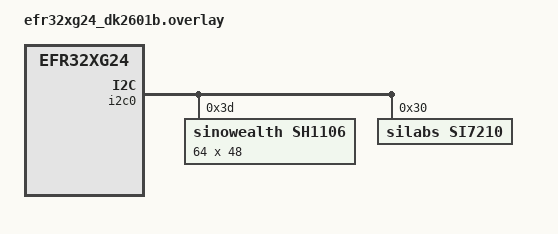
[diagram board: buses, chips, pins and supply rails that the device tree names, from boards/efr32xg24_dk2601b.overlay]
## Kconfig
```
# Copyright (c) 2022, Silicon Labs
# SPDX-License-Identifier: Apache-2.0

mainmenu "Si7210: Magnetic Threshold Configuration"

config SI7210_MAGNETIC_THRESHOLD
	int "Si7210 Magnetic threshold"
	default 20
	help
		This configuration can be used for configure magnetic threshold.

source "Kconfig.zephyr"
```

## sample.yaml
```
sample:
  description: This example demonstrates the utilization of the Qwiic connector with the Silabs EFR32BG22 Thunderboard Kit on Zephyr OS.
  name: zephyr_qwiic_connector

tests:
  sample.basic.zephyr_qwiic_connector:
    tags: experimental
```

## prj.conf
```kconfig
# nothing here
CONFIG_HEAP_MEM_POOL_SIZE=4096

CONFIG_CHARACTER_FRAMEBUFFER=y
CONFIG_CHARACTER_FRAMEBUFFER_USE_DEFAULT_FONTS=n

CONFIG_SENSOR=y
CONFIG_I2C=y
CONFIG_DISPLAY=y
CONFIG_SSD1306=y
CONFIG_SSD1306_DEFAULT_CONTRAST=143
CONFIG_STDOUT_CONSOLE=y
CONFIG_LOG_BUFFER_SIZE=4096
CONFIG_LOG=y
CONFIG_SERIAL=y
CONFIG_CBPRINTF_FP_SUPPORT=y
```

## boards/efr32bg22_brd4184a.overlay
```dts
&i2c0 {
	sh1106:sh1106@3d {
		status = "okay";
		compatible = "sinowealth,sh1106";
		reg = <0x3d>;
		width = <64>;
		height = <48>;
		segment-offset = <0x20>;
		page-offset = <0>;
		display-offset = <0>;
		multiplex-ratio = <47>;
		segment-remap;
		com-invdir;
		prechargep = <0xf1>;
	};
};
```

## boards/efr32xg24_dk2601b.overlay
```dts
&i2c0 {
	sh1106:sh1106@3d {
		status = "okay";
		compatible = "sinowealth,sh1106";
		reg = <0x3d>;
		width = <64>;
		height = <48>;
		segment-offset = <0x20>;
		page-offset = <0>;
		display-offset = <0>;
		multiplex-ratio = <47>;
		segment-remap;
		com-invdir;
		prechargep = <0xf1>;
	};

	si7210@30 {
		compatible = "silabs,si7210";
		status = "okay";
		reg = <0x30>;
	};
};

&sensor_enable {
	startup-delay-us = <100000>;
};
```

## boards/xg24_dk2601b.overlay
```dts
&i2c0 {
	ssd1306:ssd1306@3d {
		status = "okay";
		compatible = "solomon,ssd1306fb";
		reg = <0x3d>;
		width = <64>;
		height = <48>;
		segment-offset = <0x20>;
		page-offset = <0>;
		display-offset = <0>;
		multiplex-ratio = <47>;
		segment-remap;
		inversion-on;
		com-invdir;
		prechargep = <0xf1>;
	};

	si7210@30 {
		compatible = "silabs,si7210";
		status = "okay";
		reg = <0x30>;
	};
};

&sensor_enable {
	startup-delay-us = <100000>;
};
```

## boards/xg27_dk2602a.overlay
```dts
&i2c0 {
	ssd1306:ssd1306@3d {
		status = "okay";
		compatible = "solomon,ssd1306fb";
		reg = <0x3d>;
		width = <64>;
		height = <48>;
		segment-offset = <0x20>;
		page-offset = <0>;
		display-offset = <0>;
		multiplex-ratio = <47>;
		segment-remap;
		inversion-on;
		com-invdir;
		prechargep = <0xf1>;
	};
};
```

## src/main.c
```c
/***************************************************************************//**
 * @file main.c
 * @brief zephyr qwiic connector source file.
 *******************************************************************************
 * # License
 * <b>Copyright 2025 Silicon Laboratories Inc. www.silabs.com</b>
 *******************************************************************************
 *
 * SPDX-License-Identifier: Zlib
 *
 * The licensor of this software is Silicon Laboratories Inc.
 *
 * This software is provided \'as-is\', without any express or implied
 * warranty. In no event will the authors be held liable for any damages
 * arising from the use of this software.
 *
 * Permission is granted to anyone to use this software for any purpose,
 * including commercial applications, and to alter it and redistribute it
 * freely, subject to the following restrictions:
 *
 * 1. The origin of this software must not be misrepresented; you must not
 *    claim that you wrote the original software. If you use this software
 *    in a product, an acknowledgment in the product documentation would be
 *    appreciated but is not required.
 * 2. Altered source versions must be plainly marked as such, and must not be
 *    misrepresented as being the original software.
 * 3. This notice may not be removed or altered from any source distribution.
 *
 *******************************************************************************
 * # EXPERIMENTAL QUALITY
 * This code has not been formally tested and is provided as-is. It is not
 * suitable for production environments. In addition, this code will not be
 * maintained and there may be no bug maintenance planned for these resources.
 * Silicon Labs may update projects from time to time.
 ******************************************************************************/

#include <zephyr/kernel.h>
#include "app.h"

#define STACKSIZE 1024
#define PRIORITY  7

/***************************************************************************//**
 * Main thread function.
 ******************************************************************************/
void main_thread(void *id, void *unused1, void *unused2)
{
  app_init();

  while (1) {
    app_process_action();
  }
}

K_THREAD_DEFINE(main_id, STACKSIZE, main_thread,
                NULL, NULL, NULL, PRIORITY, 0, 0);
```

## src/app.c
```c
/***************************************************************************//**
 * @file app.c
 * @brief zephyr qwiic connector source file.
 *******************************************************************************
 * # License
 * <b>Copyright 2025 Silicon Laboratories Inc. www.silabs.com</b>
 *******************************************************************************
 *
 * SPDX-License-Identifier: Zlib
 *
 * The licensor of this software is Silicon Laboratories Inc.
 *
 * This software is provided \'as-is\', without any express or implied
 * warranty. In no event will the authors be held liable for any damages
 * arising from the use of this software.
 *
 * Permission is granted to anyone to use this software for any purpose,
 * including commercial applications, and to alter it and redistribute it
 * freely, subject to the following restrictions:
 *
 * 1. The origin of this software must not be misrepresented; you must not
 *    claim that you wrote the original software. If you use this software
 *    in a product, an acknowledgment in the product documentation would be
 *    appreciated but is not required.
 * 2. Altered source versions must be plainly marked as such, and must not be
 *    misrepresented as being the original software.
 * 3. This notice may not be removed or altered from any source distribution.
 *
 *******************************************************************************
 * # EXPERIMENTAL QUALITY
 * This code has not been formally tested and is provided as-is. It is not
 * suitable for production environments. In addition, this code will not be
 * maintained and there may be no bug maintenance planned for these resources.
 * Silicon Labs may update projects from time to time.
 ******************************************************************************/

#include <stdio.h>
#include <zephyr/device.h>
#include <zephyr/display/cfb.h>
#include <zephyr/drivers/sensor.h>
#include <zephyr/logging/log.h>
#include "app.h"

#define DISPLAY_DRIVER       "solomon_ssd1306fb"
#define SELECTED_FONT_INDEX  3

LOG_MODULE_REGISTER(app, 3);

static const struct device *display;
static const struct device *sensor;
static struct cfb_position line_up_start_pos = {
  .x = 0,
  .y = 10,
};
static struct cfb_position line_up_end_pos = {
  .x = 64,
  .y = 10,
};

static struct cfb_position line_down_start_pos = {
  .x = 0,
  .y = 36,
};
static struct cfb_position line_down_end_pos = {
  .x = 64,
  .y = 36,
};

static void app_sensor_init(void);
static void app_oled_init(void);
static void app_oled_update(float magnetic_value);

/***************************************************************************//**
 * OLED update application.
 ******************************************************************************/
static void app_oled_update(float magnetic_value)
{
  static char temp[13];
  uint8_t x, num_char;

  cfb_framebuffer_clear(display, false);
  cfb_print(display, "QWIIC DEMO", 8, 0);

  cfb_draw_line(display, &line_up_start_pos, &line_up_end_pos);

  cfb_print(display, "Magnetic", 12, 14);
  num_char = snprintf(temp, sizeof(temp), "%.2f mT", (double)magnetic_value);
  x = (64 - num_char * 5) / 2;
  cfb_print(display, temp, x, 26);

  cfb_draw_line(display, &line_down_start_pos, &line_down_end_pos);

  if (abs(magnetic_value) > CONFIG_SI7210_MAGNETIC_THRESHOLD) {
    LOG_INF("Detected a magnetic object nearby.");
    cfb_print(display, "< DETECTED >", 2, 40);
  } else {
    cfb_print(display, "< NO >", 16, 40);
  }

  cfb_framebuffer_finalize(display);
}

/***************************************************************************//**
 * OLED initialization function.
 ******************************************************************************/
static void app_oled_init(void)
{
  display = DEVICE_DT_GET_ONE(solomon_ssd1306fb);

  if (NULL == display) {
    LOG_ERR("SparkFun Micro OLED Breakout is not found.");
    return;
  }
  if (!device_is_ready(display)) {
    LOG_ERR("SparkFun Micro OLED Breakout is not ready!");
  }
  if (display_set_pixel_format(display, PIXEL_FORMAT_MONO01) != 0) {
    LOG_ERR("Failed to set required pixel format");
    return;
  }
  LOG_INF("Binding to %s", DISPLAY_DRIVER);
  if (cfb_framebuffer_init(display)) {
    LOG_ERR("Framebuffer initialization failed!");
    return;
  }

  cfb_framebuffer_clear(display, true);
  display_blanking_off(display);

  cfb_framebuffer_set_font(display, SELECTED_FONT_INDEX);

  LOG_INF("SparkFun Micro OLED Breakout initialized successfully.");
}

/***************************************************************************//**
 * Sensor initialization function.
 ******************************************************************************/
static void app_sensor_init(void)
{
  sensor = DEVICE_DT_GET_ANY(silabs_si7210);

  if (NULL == sensor) {
    LOG_ERR("Si7210 Hall Effect Magnetic Sensor is not found.");
    return;
  }

  if (!device_is_ready(sensor)) {
    LOG_ERR("Si7210 Hall Effect Magnetic Sensor is not ready!");
  }

  LOG_INF("Si7210 Hall Effect Magnetic Sensor initialized successfully.");
  LOG_INF("Magnetic induction threshold: %d mT",
          CONFIG_SI7210_MAGNETIC_THRESHOLD);
}

/***************************************************************************//**
 * Initialize application.
 ******************************************************************************/
void app_init(void)
{
  app_oled_init();
  app_sensor_init();
}

/***************************************************************************//**
 * Application ticking function.
 ******************************************************************************/
void app_process_action(void)
{
  struct sensor_value magnetic;
  float f_magnetic;

  while (1) {
    sensor_sample_fetch(sensor);
    sensor_channel_get(sensor, SENSOR_CHAN_MAGN_Z, &magnetic);

    f_magnetic = magnetic.val1 + magnetic.val2 / 1000000;
    LOG_INF("Magnetic: %.2f mT", (double)f_magnetic);

    app_oled_update(f_magnetic);
    k_sleep(K_MSEC(1000));
  }
}
```

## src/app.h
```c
/***************************************************************************//**
 * @file app.h
 * @brief zephyr qwiic connector header file.
 *******************************************************************************
 * # License
 * <b>Copyright 2025 Silicon Laboratories Inc. www.silabs.com</b>
 *******************************************************************************
 *
 * SPDX-License-Identifier: Zlib
 *
 * The licensor of this software is Silicon Laboratories Inc.
 *
 * This software is provided \'as-is\', without any express or implied
 * warranty. In no event will the authors be held liable for any damages
 * arising from the use of this software.
 *
 * Permission is granted to anyone to use this software for any purpose,
 * including commercial applications, and to alter it and redistribute it
 * freely, subject to the following restrictions:
 *
 * 1. The origin of this software must not be misrepresented; you must not
 *    claim that you wrote the original software. If you use this software
 *    in a product, an acknowledgment in the product documentation would be
 *    appreciated but is not required.
 * 2. Altered source versions must be plainly marked as such, and must not be
 *    misrepresented as being the original software.
 * 3. This notice may not be removed or altered from any source distribution.
 *
 *******************************************************************************
 * # EXPERIMENTAL QUALITY
 * This code has not been formally tested and is provided as-is. It is not
 * suitable for production environments. In addition, this code will not be
 * maintained and there may be no bug maintenance planned for these resources.
 * Silicon Labs may update projects from time to time.
 ******************************************************************************/

#ifndef APP_H_
#define APP_H_

/***************************************************************************//**
 * Initialize application.
 ******************************************************************************/
void app_init(void);

/***************************************************************************//**
 * App ticking function.
 ******************************************************************************/
void app_process_action(void);

#endif /*APP_H_*/
```
